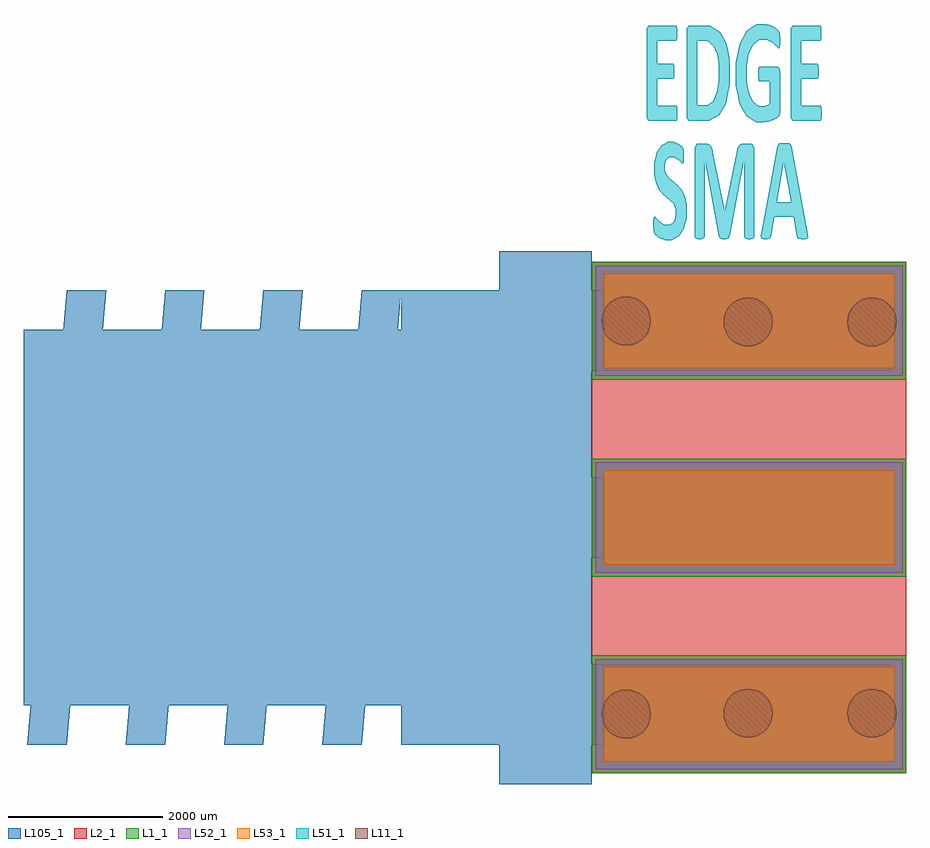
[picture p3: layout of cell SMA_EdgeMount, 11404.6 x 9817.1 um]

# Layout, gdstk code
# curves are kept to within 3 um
import gdstk
lib = gdstk.Library(unit=1e-6, precision=1e-09)
def R(c, l, rs):  # rectangles x0, y0, x1, y1
    for r in rs: c.add(gdstk.rectangle(r[:2], r[2:], *l))
def A(c, l, x, y, w, h, nx, ny, dx, dy):  # array of equal rectangles
    R(c, l, [(x+i*dx, y+j*dy, x+i*dx+w, y+j*dy+h) for i in range(nx) for j in range(ny)])
def P(c, l, *ps):  # polygons
    for p in ps: c.add(gdstk.Polygon(p, *l))
L1_1 = (1, 1)
L2_1 = (2, 1)
L11_1 = (11, 1)
L51_1 = (51, 1)
L52_1 = (52, 1)
L53_1 = (53, 1)
L105_1 = (105, 1)

sma_edgemount = lib.new_cell('SMA_EdgeMount')
A(sma_edgemount, L1_1, 0, 0, 4064, 1524, 1, 3, 0, 2540)
P(sma_edgemount, L1_1, [(889,5842),(882.269,5764.784),(862.203,5689.981),(829.437,5619.75),(784.987,5556.25),(730.25,5501.513),(666.75,5457.063),(596.519,5424.297),(521.716,5404.231),(444.5,5397.5),(367.284,5404.231),(292.481,5424.297),(222.25,5457.063),(158.75,5501.513),(104.013,5556.25),(59.563,5619.75),(26.797,5689.981),(6.731,5764.784),(0,5842),(6.731,5919.216),(26.797,5994.019),(59.563,6064.25),(104.013,6127.75),(158.75,6182.487),(222.25,6226.937),(292.481,6259.703),(367.284,6279.769),(444.5,6286.5),(521.716,6279.769),(596.519,6259.703),(666.75,6226.937),(730.25,6182.487),(784.987,6127.75),(829.437,6064.25),(862.203,5994.019),(882.269,5919.216)],
  [(4064,5829.3),(4057.269,5752.084),(4037.203,5677.281),(4004.437,5607.05),(3959.987,5543.55),(3905.25,5488.813),(3841.75,5444.363),(3771.519,5411.597),(3696.716,5391.531),(3619.5,5384.8),(3542.284,5391.531),(3467.481,5411.597),(3397.25,5444.363),(3333.75,5488.813),(3279.013,5543.55),(3234.563,5607.05),(3201.797,5677.281),(3181.731,5752.084),(3175,5829.3),(3181.731,5906.516),(3201.797,5981.319),(3234.563,6051.55),(3279.013,6115.05),(3333.75,6169.787),(3397.25,6214.237),(3467.481,6247.003),(3542.284,6267.069),(3619.5,6273.8),(3696.716,6267.069),(3771.519,6247.003),(3841.75,6214.237),(3905.25,6169.787),(3959.987,6115.05),(4004.437,6051.55),(4037.203,5981.319),(4057.269,5906.516)],
  [(2463.8,774.7),(2457.069,697.484),(2437.003,622.681),(2404.237,552.45),(2359.787,488.95),(2305.05,434.213),(2241.55,389.763),(2171.319,356.997),(2096.516,336.931),(2019.3,330.2),(1942.084,336.931),(1867.281,356.997),(1797.05,389.763),(1733.55,434.213),(1678.813,488.95),(1634.363,552.45),(1601.597,622.681),(1581.531,697.484),(1574.8,774.7),(1581.531,851.916),(1601.597,926.719),(1634.363,996.95),(1678.813,1060.45),(1733.55,1115.187),(1797.05,1159.637),(1867.281,1192.403),(1942.084,1212.469),(2019.3,1219.2),(2096.516,1212.469),(2171.319,1192.403),(2241.55,1159.637),(2305.05,1115.187),(2359.787,1060.45),(2404.237,996.95),(2437.003,926.719),(2457.069,851.916)],
  [(889,762),(882.269,684.784),(862.203,609.981),(829.437,539.75),(784.987,476.25),(730.25,421.513),(666.75,377.063),(596.519,344.297),(521.716,324.231),(444.5,317.5),(367.284,324.231),(292.481,344.297),(222.25,377.063),(158.75,421.513),(104.013,476.25),(59.563,539.75),(26.797,609.981),(6.731,684.784),(0,762),(6.731,839.216),(26.797,914.019),(59.563,984.25),(104.013,1047.75),(158.75,1102.487),(222.25,1146.937),(292.481,1179.703),(367.284,1199.769),(444.5,1206.5),(521.716,1199.769),(596.519,1179.703),(666.75,1146.937),(730.25,1102.487),(784.987,1047.75),(829.437,984.25),(862.203,914.019),(882.269,839.216)],
  [(4064,774.7),(4057.269,697.484),(4037.203,622.681),(4004.437,552.45),(3959.987,488.95),(3905.25,434.213),(3841.75,389.763),(3771.519,356.997),(3696.716,336.931),(3619.5,330.2),(3542.284,336.931),(3467.481,356.997),(3397.25,389.763),(3333.75,434.213),(3279.013,488.95),(3234.563,552.45),(3201.797,622.681),(3181.731,697.484),(3175,774.7),(3181.731,851.916),(3201.797,926.719),(3234.563,996.95),(3279.013,1060.45),(3333.75,1115.187),(3397.25,1159.637),(3467.481,1192.403),(3542.284,1212.469),(3619.5,1219.2),(3696.716,1212.469),(3771.519,1192.403),(3841.75,1159.637),(3905.25,1115.187),(3959.987,1060.45),(4004.437,996.95),(4037.203,926.719),(4057.269,851.916)],
  [(2463.8,5829.3),(2457.069,5752.084),(2437.003,5677.281),(2404.237,5607.05),(2359.787,5543.55),(2305.05,5488.813),(2241.55,5444.363),(2171.319,5411.597),(2096.516,5391.531),(2019.3,5384.8),(1942.084,5391.531),(1867.281,5411.597),(1797.05,5444.363),(1733.55,5488.813),(1678.813,5543.55),(1634.363,5607.05),(1601.597,5677.281),(1581.531,5752.084),(1574.8,5829.3),(1581.531,5906.516),(1601.597,5981.319),(1634.363,6051.55),(1678.813,6115.05),(1733.55,6169.787),(1797.05,6214.237),(1867.281,6247.003),(1942.084,6267.069),(2019.3,6273.8),(2096.516,6267.069),(2171.319,6247.003),(2241.55,6214.237),(2305.05,6169.787),(2359.787,6115.05),(2404.237,6051.55),(2437.003,5981.319),(2457.069,5906.516)])
R(sma_edgemount, L2_1, [(0,0,4064,6604)])
P(sma_edgemount, L2_1, [(889,5842),(882.269,5764.784),(862.203,5689.981),(829.437,5619.75),(784.987,5556.25),(730.25,5501.513),(666.75,5457.063),(596.519,5424.297),(521.716,5404.231),(444.5,5397.5),(367.284,5404.231),(292.481,5424.297),(222.25,5457.063),(158.75,5501.513),(104.013,5556.25),(59.563,5619.75),(26.797,5689.981),(6.731,5764.784),(0,5842),(6.731,5919.216),(26.797,5994.019),(59.563,6064.25),(104.013,6127.75),(158.75,6182.487),(222.25,6226.937),(292.481,6259.703),(367.284,6279.769),(444.5,6286.5),(521.716,6279.769),(596.519,6259.703),(666.75,6226.937),(730.25,6182.487),(784.987,6127.75),(829.437,6064.25),(862.203,5994.019),(882.269,5919.216)],
  [(2463.8,774.7),(2457.069,697.484),(2437.003,622.681),(2404.237,552.45),(2359.787,488.95),(2305.05,434.213),(2241.55,389.763),(2171.319,356.997),(2096.516,336.931),(2019.3,330.2),(1942.084,336.931),(1867.281,356.997),(1797.05,389.763),(1733.55,434.213),(1678.813,488.95),(1634.363,552.45),(1601.597,622.681),(1581.531,697.484),(1574.8,774.7),(1581.531,851.916),(1601.597,926.719),(1634.363,996.95),(1678.813,1060.45),(1733.55,1115.187),(1797.05,1159.637),(1867.281,1192.403),(1942.084,1212.469),(2019.3,1219.2),(2096.516,1212.469),(2171.319,1192.403),(2241.55,1159.637),(2305.05,1115.187),(2359.787,1060.45),(2404.237,996.95),(2437.003,926.719),(2457.069,851.916)],
  [(4064,5829.3),(4057.269,5752.084),(4037.203,5677.281),(4004.437,5607.05),(3959.987,5543.55),(3905.25,5488.813),(3841.75,5444.363),(3771.519,5411.597),(3696.716,5391.531),(3619.5,5384.8),(3542.284,5391.531),(3467.481,5411.597),(3397.25,5444.363),(3333.75,5488.813),(3279.013,5543.55),(3234.563,5607.05),(3201.797,5677.281),(3181.731,5752.084),(3175,5829.3),(3181.731,5906.516),(3201.797,5981.319),(3234.563,6051.55),(3279.013,6115.05),(3333.75,6169.787),(3397.25,6214.237),(3467.481,6247.003),(3542.284,6267.069),(3619.5,6273.8),(3696.716,6267.069),(3771.519,6247.003),(3841.75,6214.237),(3905.25,6169.787),(3959.987,6115.05),(4004.437,6051.55),(4037.203,5981.319),(4057.269,5906.516)],
  [(889,762),(882.269,684.784),(862.203,609.981),(829.437,539.75),(784.987,476.25),(730.25,421.513),(666.75,377.063),(596.519,344.297),(521.716,324.231),(444.5,317.5),(367.284,324.231),(292.481,344.297),(222.25,377.063),(158.75,421.513),(104.013,476.25),(59.563,539.75),(26.797,609.981),(6.731,684.784),(0,762),(6.731,839.216),(26.797,914.019),(59.563,984.25),(104.013,1047.75),(158.75,1102.487),(222.25,1146.937),(292.481,1179.703),(367.284,1199.769),(444.5,1206.5),(521.716,1199.769),(596.519,1179.703),(666.75,1146.937),(730.25,1102.487),(784.987,1047.75),(829.437,984.25),(862.203,914.019),(882.269,839.216)],
  [(4064,774.7),(4057.269,697.484),(4037.203,622.681),(4004.437,552.45),(3959.987,488.95),(3905.25,434.213),(3841.75,389.763),(3771.519,356.997),(3696.716,336.931),(3619.5,330.2),(3542.284,336.931),(3467.481,356.997),(3397.25,389.763),(3333.75,434.213),(3279.013,488.95),(3234.563,552.45),(3201.797,622.681),(3181.731,697.484),(3175,774.7),(3181.731,851.916),(3201.797,926.719),(3234.563,996.95),(3279.013,1060.45),(3333.75,1115.187),(3397.25,1159.637),(3467.481,1192.403),(3542.284,1212.469),(3619.5,1219.2),(3696.716,1212.469),(3771.519,1192.403),(3841.75,1159.637),(3905.25,1115.187),(3959.987,1060.45),(4004.437,996.95),(4037.203,926.719),(4057.269,851.916)],
  [(2463.8,5829.3),(2457.069,5752.084),(2437.003,5677.281),(2404.237,5607.05),(2359.787,5543.55),(2305.05,5488.813),(2241.55,5444.363),(2171.319,5411.597),(2096.516,5391.531),(2019.3,5384.8),(1942.084,5391.531),(1867.281,5411.597),(1797.05,5444.363),(1733.55,5488.813),(1678.813,5543.55),(1634.363,5607.05),(1601.597,5677.281),(1581.531,5752.084),(1574.8,5829.3),(1581.531,5906.516),(1601.597,5981.319),(1634.363,6051.55),(1678.813,6115.05),(1733.55,6169.787),(1797.05,6214.237),(1867.281,6247.003),(1942.084,6267.069),(2019.3,6273.8),(2096.516,6267.069),(2171.319,6247.003),(2241.55,6214.237),(2305.05,6169.787),(2359.787,6115.05),(2404.237,6051.55),(2437.003,5981.319),(2457.069,5906.516)])
P(sma_edgemount, L11_1, [(762,5842),(757.174,5786.882),(742.823,5733.415),(719.455,5683.25),(687.705,5637.911),(648.589,5598.795),(603.25,5567.045),(553.085,5543.677),(499.618,5529.326),(444.5,5524.5),(389.382,5529.326),(335.915,5543.677),(285.75,5567.045),(240.411,5598.795),(201.295,5637.911),(169.545,5683.25),(146.177,5733.415),(131.826,5786.882),(127,5842),(131.826,5897.118),(146.177,5950.585),(169.545,6000.75),(201.295,6046.089),(240.411,6085.205),(285.75,6116.955),(335.915,6140.323),(389.382,6154.674),(444.5,6159.5),(499.618,6154.674),(553.085,6140.323),(603.25,6116.955),(648.589,6085.205),(687.705,6046.089),(719.455,6000.75),(742.823,5950.585),(757.174,5897.118)],
  [(3937,774.7),(3932.174,719.582),(3917.823,666.115),(3894.455,615.95),(3862.705,570.611),(3823.589,531.495),(3778.25,499.745),(3728.085,476.377),(3674.618,462.026),(3619.5,457.2),(3564.382,462.026),(3510.915,476.377),(3460.75,499.745),(3415.411,531.495),(3376.295,570.611),(3344.545,615.95),(3321.177,666.115),(3306.826,719.582),(3302,774.7),(3306.826,829.818),(3321.177,883.285),(3344.545,933.45),(3376.295,978.789),(3415.411,1017.905),(3460.75,1049.655),(3510.915,1073.023),(3564.382,1087.374),(3619.5,1092.2),(3674.618,1087.374),(3728.085,1073.023),(3778.25,1049.655),(3823.589,1017.905),(3862.705,978.789),(3894.455,933.45),(3917.823,883.285),(3932.174,829.818)],
  [(2336.8,774.7),(2331.974,719.582),(2317.623,666.115),(2294.255,615.95),(2262.505,570.611),(2223.389,531.495),(2178.05,499.745),(2127.885,476.377),(2074.418,462.026),(2019.3,457.2),(1964.182,462.026),(1910.715,476.377),(1860.55,499.745),(1815.211,531.495),(1776.095,570.611),(1744.345,615.95),(1720.977,666.115),(1706.626,719.582),(1701.8,774.7),(1706.626,829.818),(1720.977,883.285),(1744.345,933.45),(1776.095,978.789),(1815.211,1017.905),(1860.55,1049.655),(1910.715,1073.023),(1964.182,1087.374),(2019.3,1092.2),(2074.418,1087.374),(2127.885,1073.023),(2178.05,1049.655),(2223.389,1017.905),(2262.505,978.789),(2294.255,933.45),(2317.623,883.285),(2331.974,829.818)],
  [(762,762),(757.174,706.882),(742.823,653.415),(719.455,603.25),(687.705,557.911),(648.589,518.795),(603.25,487.045),(553.085,463.677),(499.618,449.326),(444.5,444.5),(389.382,449.326),(335.915,463.677),(285.75,487.045),(240.411,518.795),(201.295,557.911),(169.545,603.25),(146.177,653.415),(131.826,706.882),(127,762),(131.826,817.118),(146.177,870.585),(169.545,920.75),(201.295,966.089),(240.411,1005.205),(285.75,1036.955),(335.915,1060.323),(389.382,1074.674),(444.5,1079.5),(499.618,1074.674),(553.085,1060.323),(603.25,1036.955),(648.589,1005.205),(687.705,966.089),(719.455,920.75),(742.823,870.585),(757.174,817.118)],
  [(3937,5829.3),(3932.174,5774.182),(3917.823,5720.715),(3894.455,5670.55),(3862.705,5625.211),(3823.589,5586.095),(3778.25,5554.345),(3728.085,5530.977),(3674.618,5516.626),(3619.5,5511.8),(3564.382,5516.626),(3510.915,5530.977),(3460.75,5554.345),(3415.411,5586.095),(3376.295,5625.211),(3344.545,5670.55),(3321.177,5720.715),(3306.826,5774.182),(3302,5829.3),(3306.826,5884.418),(3321.177,5937.885),(3344.545,5988.05),(3376.295,6033.389),(3415.411,6072.505),(3460.75,6104.255),(3510.915,6127.623),(3564.382,6141.974),(3619.5,6146.8),(3674.618,6141.974),(3728.085,6127.623),(3778.25,6104.255),(3823.589,6072.505),(3862.705,6033.389),(3894.455,5988.05),(3917.823,5937.885),(3932.174,5884.418)],
  [(2336.8,5829.3),(2331.974,5774.182),(2317.623,5720.715),(2294.255,5670.55),(2262.505,5625.211),(2223.389,5586.095),(2178.05,5554.345),(2127.885,5530.977),(2074.418,5516.626),(2019.3,5511.8),(1964.182,5516.626),(1910.715,5530.977),(1860.55,5554.345),(1815.211,5586.095),(1776.095,5625.211),(1744.345,5670.55),(1720.977,5720.715),(1706.626,5774.182),(1701.8,5829.3),(1706.626,5884.418),(1720.977,5937.885),(1744.345,5988.05),(1776.095,6033.389),(1815.211,6072.505),(1860.55,6104.255),(1910.715,6127.623),(1964.182,6141.974),(2019.3,6146.8),(2074.418,6141.974),(2127.885,6127.623),(2178.05,6104.255),(2223.389,6072.505),(2262.505,6033.389),(2294.255,5988.05),(2317.623,5937.885),(2331.974,5884.418)])
P(sma_edgemount, L51_1, [(2098.802,8032.115),(2092.198,8092.694),(2079.371,8118.348),(2059.432,8131.556),(1936.369,8131.556),(1907.794,8117.332),(1886.839,8083.296),(1870.964,8028.305),(1714.119,7259.701),(1565.021,8030.21),(1548.638,8084.185),(1524.127,8117.332),(1490.472,8131.556),(1356.106,8131.556),(1328.547,8080.375),(1328.547,6929.882),(1334.135,6914.642),(1348.867,6905.244),(1373.378,6899.529),(1410.716,6899.529),(1434.719,6905.244),(1450.086,6914.642),(1455.674,6929.882),(1455.674,7937.373),(1643.126,6929.882),(1652.397,6914.642),(1668.145,6904.228),(1692.656,6899.529),(1751.965,6902.323),(1767.84,6911.848),(1776.984,6927.977),(1971.548,7937.373),(1971.548,6929.882),(1977.771,6914.642),(1991.995,6905.244),(2016.506,6899.529),(2053.844,6899.529),(2078.355,6905.244),(2093.214,6914.642),(2098.802,6929.882)],
  [(2580.005,8085.201),(2568.194,8124.063),(2548.255,8134.477),(2424.684,8134.477),(2406.777,8124.063),(2398.649,8104.124),(2185.67,6966.839),(2182.622,6926.961),(2192.782,6905.244),(2219.325,6899.529),(2264.791,6899.529),(2291.842,6903.339),(2306.701,6913.753),(2313.305,6931.787),(2357.247,7184.771),(2386.838,7184.771),(2386.838,7376.287),(2480.31,7897.495),(2574.417,7376.287),(2386.838,7376.287),(2386.838,7184.771),(2605.532,7184.771),(2652.014,6926.072),(2658.11,6910.832),(2673.477,6902.323),(2753.614,6899.529),(2782.316,6904.228),(2793.492,6924.167),(2784.348,6998.081)],
  [(2432.812,9513.189),(2426.589,9561.576),(2412.619,9588.119),(2377.44,9624.187),(2323.973,9655.556),(2252.472,9677.4),(2129.663,9677.4),(2000.631,9588.119),(1909.445,9420.225),(1859.661,9180.068),(1859.661,8882.888),(1906.27,8652.256),(1994.408,8491.855),(2121.408,8407.4),(2229.231,8407.4),(2283.587,8416.925),(2336.927,8435.848),(2386.711,8462.391),(2420.366,8487.156),(2431.288,8529.828),(2431.288,9066.149),(2426.081,9095.613),(2416.302,9116.441),(2403.348,9126.855),(2163.826,9126.855),(2156.587,9116.441),(2148.84,9058.529),(2148.84,8980.678),(2159.254,8938.006),(2295.525,8938.006),(2295.525,8653.272),(2276.348,8634.222),(2231.771,8615.299),(2162.302,8615.299),(2085.086,8670.29),(2030.222,8778.494),(1999.615,8938.895),(1999.615,9140.19),(2029.714,9298.686),(2085.594,9411.589),(2164.461,9473.311),(2258.695,9473.311),(2327.656,9439.148),(2377.44,9399.27),(2407.412,9365.107),(2418.842,9365.107),(2425.573,9374.632),(2430.272,9398.381)],
  [(1782.953,9206.611),(1738.376,9428.734),(1652.905,9579.61),(1527.937,9656.572),(1249.172,9656.572),(1225.804,9619.488),(1225.804,8465.312),(1249.172,8428.228),(1361.567,8428.228),(1361.567,9460.992),(1493.266,9460.992),(1570.482,9399.27),(1619.758,9289.161),(1641.983,9139.174),(1641.983,8945.626),(1616.583,8786.114),(1565.275,8678.926),(1488.567,8625.713),(1361.567,8625.713),(1361.567,8428.228),(1515.491,8428.228),(1644.523,8499.475),(1734.82,8651.367),(1782.953,8891.524)],
  [(1225.804,7346.823),(1201.293,7455.789),(1161.415,7536.434),(1110.361,7594.219),(1006.221,7680.452),(965.835,7726.934),(941.832,7786.624),(941.832,7854.823),(952.5,7904.099),(974.471,7939.151),(1007.237,7959.09),(1057.275,7959.09),(1104.265,7933.563),(1164.463,7875.651),(1175.766,7875.651),(1182.37,7887.081),(1187.45,7949.692),(1186.434,8034.909),(1180.338,8069.961),(1170.178,8089.011),(1138.428,8117.332),(1097.661,8140.192),(1050.671,8153.4),(981.71,8153.4),(900.43,8109.839),(840.613,8021.701),(805.434,7887.97),(805.434,7723.124),(829.945,7613.142),(869.315,7532.624),(919.353,7474.839),(1022.477,7388.606),(1061.847,7342.124),(1086.358,7282.434),(1086.358,7204.71),(1072.007,7145.909),(1044.956,7106.158),(1006.221,7084.314),(944.372,7084.314),(887.603,7115.556),(820.801,7184.771),(808.482,7184.771),(800.862,7174.357),(794.131,7109.968),(794.131,7036.943),(799.846,6990.461),(813.054,6965.823),(843.28,6933.692),(888.111,6904.228),(946.912,6883.4),(1031.748,6883.4),(1120.648,6932.676),(1186.942,7030.339),(1225.804,7176.262)],
  [(1105.535,8553.577),(1102.995,8590.534),(1097.788,8613.394),(1090.041,8623.808),(843.915,8623.808),(843.915,8970.264),(1051.179,8970.264),(1058.926,8979.789),(1064.133,9001.633),(1066.673,9037.701),(1064.133,9128.76),(1058.926,9150.604),(1051.179,9161.018),(843.915,9161.018),(843.915,9460.992),(1088.009,9460.992),(1095.248,9471.406),(1100.455,9494.266),(1102.995,9531.223),(1102.995,9586.341),(1095.248,9647.047),(1088.009,9656.572),(731.393,9656.572),(708.025,9619.488),(708.025,8465.312),(731.393,8428.228),(1090.041,8428.228),(1097.788,8438.769),(1102.995,8461.502)],
  [(2968.752,8553.577),(2966.212,8590.534),(2961.005,8613.394),(2953.258,8623.808),(2707.005,8623.808),(2707.005,8970.264),(2914.396,8970.264),(2922.143,8979.789),(2927.35,9001.633),(2929.89,9037.701),(2927.35,9128.76),(2922.143,9150.604),(2914.396,9161.018),(2707.005,9161.018),(2707.005,9460.992),(2951.099,9460.992),(2958.338,9471.406),(2963.545,9494.266),(2966.212,9531.223),(2966.212,9586.341),(2958.338,9647.047),(2951.099,9656.572),(2594.61,9656.572),(2571.242,9619.488),(2571.242,8465.312),(2594.61,8428.228),(2953.258,8428.228),(2961.005,8438.769),(2966.212,8461.502)])
A(sma_edgemount, L52_1, 50.8, 50.8, 3962.4, 1422.4, 1, 3, 0, 2540)
A(sma_edgemount, L53_1, 150.8, 150.8, 3762.4, 1222.4, 1, 3, 0, 2540)
R(sma_edgemount, L105_1, [(-1193.8,-139.7,0,6743.7), (-2463.8,368.3,-1193.8,6235.7), (0,368.3,3860.8,1409.7), (-7340.6,876.3,-2463.8,5727.7), (0,5194.3,3860.8,6235.7)])
P(sma_edgemount, L105_1, [(-6273.8,6235.7),(-6781.8,368.3),(-7289.8,368.3),(-6781.8,6235.7)],
  [(-3733.8,6235.7),(-4241.8,368.3),(-4749.8,368.3),(-4241.8,6235.7)],
  [(-2463.8,6235.7),(-2971.8,368.3),(-3479.8,368.3),(-2971.8,6235.7)],
  [(-5003.8,6235.7),(-5511.8,368.3),(-6019.8,368.3),(-5511.8,6235.7)],
  [(0,2781.3),(3340.1,2781.3),(3860.8,3302),(3340.1,3822.7),(0,3822.7)])
sma_edgemount.add(gdstk.FlexPath([(4064,4064),(4064,2540)], 0, ends="round", simple_path=True, layer=1, datatype=1))  # L1_1

lib.write_gds('SMA_EdgeMount.gds')
